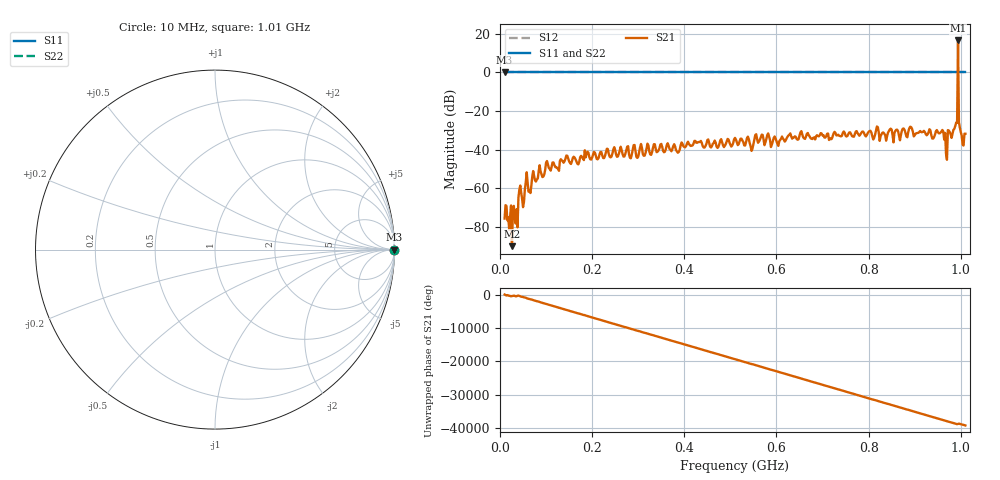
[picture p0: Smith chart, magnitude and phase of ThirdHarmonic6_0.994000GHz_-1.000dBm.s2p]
! 8/16/2025 7:55:26 AM
! C:\ANRITSUVNA\TEMP\TEMP.S2P
! CHANNEL.1
! TR.MEASUREMENT
! RAW.DATA
! RF.CORRECTION.OFF
! AVERAGING.OFF
! IF.BANDWIDTH: 5KHZ
! SWEEPTYPE:  FREQ.SWEEP(Linear)
! Reference Plane Port Info
! PORT:  PORT1  PORT2
! DISTANCE:  0  m  0  m
! TIME:  0  s  0  s
! PHASE.OFFSET:  0  deg.  0  deg.
! LOSS:  0  dB  0  dB
! REF.LOSS:  0  dB  0  dB
! REF.FREQ:  0  Hz  0  Hz
! Power Info
! POWER:  -20  dBm  -20  dBm
! EFF.POWER:  -20  dBm  -20  dBm
! SOURCE.ATTEN:  0  dB  0  dB
! TEST.ATTEN:  0  dB  0  dB
# GHZ S RI R 50.0
! FREQ.GHZ  S11RE  S11IM  S21RE  S21IM  S12RE  S12IM  S22RE  S22IM
!; PortSelection: Port_12
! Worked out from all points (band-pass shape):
!   501 points, 10 MHz to 1.01 GHz, reference 50 ohm
!   highest |S21| = 16.57 dB at 994 MHz (marker M1); lowest = -90.0 dB at 26 MHz (marker M2)
!   |S21| within 3 dB of the highest: 993.8594 MHz to 994.1413 MHz (282 kHz wide, 0.0284 % of centre)
!   lowest |S11| = 0.0 dB at 10 MHz (marker M3)
!   |S11| at or under -10 dB: nowhere
!   |S22| runs from 0.0 to 0.0 dB; largest |S21 - S12| = 7.7
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0.01  1 0  0.000149 6.87e-05  1 0  1 0
0.026  1 0  7.9e-06 -3.05e-05  1 0  1 0
0.036  1 0  -0.000208 -0.000197  1 0  1 0
0.044  1 0  -0.00106 -0.000513  1 0  1 0
0.05  1 0  0.000318 -5.27e-05  1 0  1 0
0.058  1 0  0.00254 0.000503  1 0  1 0
0.064  1 0  -0.000513 0.000718  1 0  1 0
0.102  1 0  0.00488 0.00133  1 0  1 0
0.178  1 0  -0.00635 0.000984  1 0  1 0
0.344  1 0  0.00852 -0.00433  1 0  1 0
0.51  1 0  -0.0101 0.0174  1 0  1 0
0.546  1 0  -0.00405 0.00834  1 0  1 0
0.678  1 0  -0.0187 -0.00218  1 0  1 0
0.844  1 0  0.0279 -0.012  1 0  1 0
0.958  1 0  0.0204 0.0211  1 0  1 0
0.966  1 0  -0.00121 0.027  1 0  1 0
0.988  1 0  0.0126 -0.0389  1 0  1 0
0.99  1 0  -0.0468 -0.0182  1 0  1 0
0.994  1 0  -6.195 -2.645  1 0  1 0
0.998  1 0  -0.0368 -0.00159  1 0  1 0
1  1 0  -0.0052 0.0281  1 0  1 0
1.01  1 0  0.000436 0.0258  1 0  1 0
